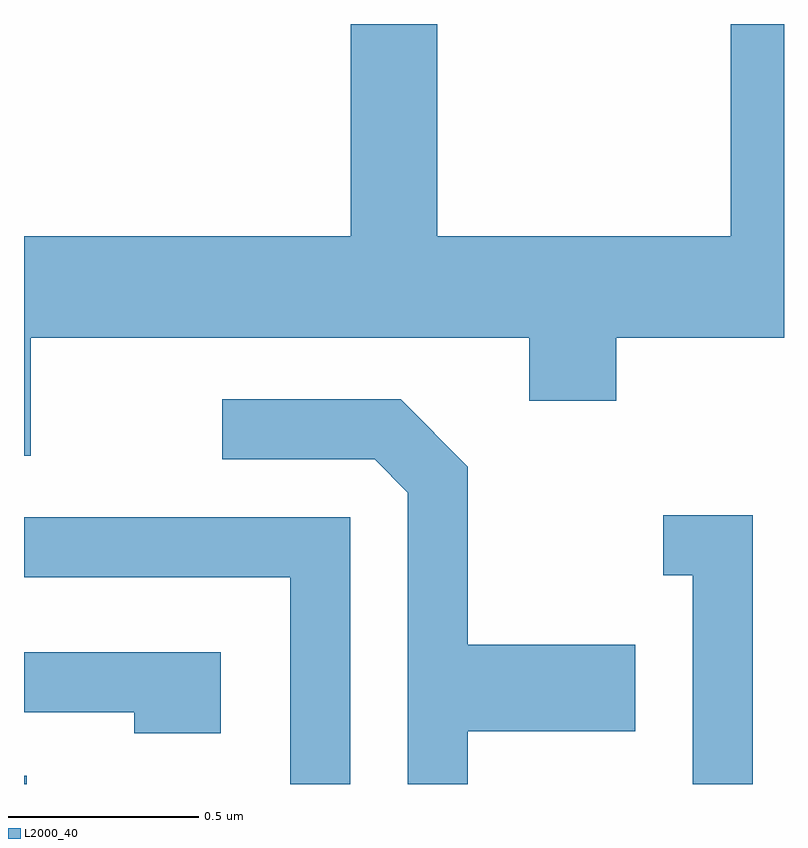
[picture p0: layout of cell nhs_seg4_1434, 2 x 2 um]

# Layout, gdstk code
import gdstk
lib = gdstk.Library(unit=1e-6, precision=1e-09)
def R(c, l, rs):  # rectangles x0, y0, x1, y1
    for r in rs: c.add(gdstk.rectangle(r[:2], r[2:], *l))
def P(c, l, *ps):  # polygons
    for p in ps: c.add(gdstk.Polygon(p, *l))
L2000_40 = (2000, 40)

nhs_seg4_1434 = lib.new_cell('nhs_seg4_1434')
R(nhs_seg4_1434, L2000_40, [(195.611,1317.982,195.618,1318.004)])
P(nhs_seg4_1434, L2000_40, [(195.629,1319.156),(196.941,1319.156),(196.941,1318.991),(197.169,1318.991),(197.169,1319.156),(197.611,1319.156),(197.611,1319.982),(197.471,1319.982),(197.471,1319.424),(196.699,1319.424),(196.699,1319.982),(196.471,1319.982),(196.471,1319.424),(195.611,1319.424),(195.611,1318.846),(195.629,1318.846)],
  [(196.779,1318.121),(197.219,1318.121),(197.219,1318.349),(196.779,1318.349),(196.779,1318.817),(196.602,1318.994),(196.133,1318.994),(196.133,1318.836),(196.534,1318.836),(196.621,1318.749),(196.621,1317.982),(196.779,1317.982)],
  [(197.529,1318.689),(197.293,1318.689),(197.293,1318.531),(197.371,1318.531),(197.371,1317.982),(197.529,1317.982)],
  [(196.469,1318.684),(195.611,1318.684),(195.611,1318.526),(196.311,1318.526),(196.311,1317.982),(196.469,1317.982)],
  [(196.129,1318.329),(195.611,1318.329),(195.611,1318.171),(195.901,1318.171),(195.901,1318.116),(196.129,1318.116)])

lib.write_gds('nhs_seg4_1434.gds')
